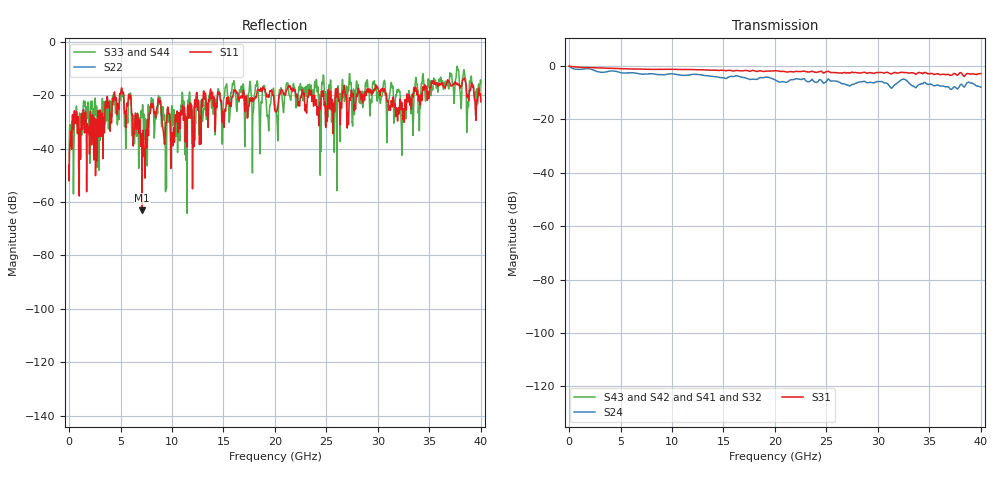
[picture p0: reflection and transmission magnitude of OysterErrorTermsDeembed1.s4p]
! File created by SignalIntegrity v1.1.1: Signal and Power Integrity Tools
! https://github.com/TeledyneLeCroy/SignalIntegrity
# MHz MA S R 50.0
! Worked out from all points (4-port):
!   8000 points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, 5 MHz to 40 GHz, reference 50 ohm
!   strongest paths, dB at 5 MHz, 10.01 GHz, 20 GHz, 30 GHz, 40 GHz:
!     S31: -0.1, -1.2, -1.8, -2.5, -2.9
!     S24: -0.1, -2.9, -5.2, -5.8, -7.9
!     S43: -, -, -, -, -
!     S42: -, -, -, -, -
!     S41: -, -, -, -, -
!     S32: -, -, -, -, -
!   lowest |S11| = -63.1 dB at 7.095 GHz (marker M1), VSWR 1.00, Z = 49.9 + j0.0452 ohm
!   |S11| at or under -10 dB: start of sweep to end of sweep
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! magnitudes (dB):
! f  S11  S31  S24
! 5 MHz  -46.2  -0.1  -0.1
! 5.095 GHz  -17.2  -1.1  -2.6
! 7.095 GHz  -63.1  -1.2  -3.1
! 16.16 GHz  -18.2  -1.7  -3.7
! 29.64 GHz  -17.8  -2.7  -6.2
! 32.41 GHz  -29.1  -2.4  -5.0
! 40 GHz  -22.5  -2.9  -7.9
